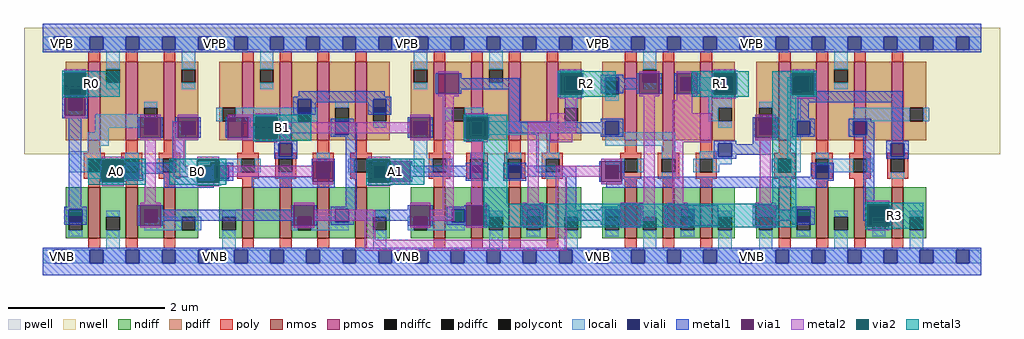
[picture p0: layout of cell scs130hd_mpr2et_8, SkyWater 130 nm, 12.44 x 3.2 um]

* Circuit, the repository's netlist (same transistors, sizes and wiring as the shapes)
* NGSPICE file created from scs130hd_mpr2et_8.ext - technology: sky130A

.subckt scs130hd_mpr2et_8 VPB VNB B0 A0 B1 R1 R2 R0 R3 A1 vpwr vgnd
X0 a_242_46# A0 vgnd VNB sky130_fd_pr__nfet_01v8 ad=0.10725 pd=0.98 as=0.10725 ps=0.98 w=0.65 l=0.15
X1 vgnd A1 a_730_46# VNB sky130_fd_pr__nfet_01v8 ad=0.1885 pd=1.88 as=0.10725 ps=0.98 w=0.65 l=0.15
X2 vgnd a_104_198# a_1176_198# VNB sky130_fd_pr__nfet_01v8 ad=0.10725 pd=0.98 as=0.1885 ps=1.88 w=0.65 l=0.15
X3 a_450_296# A1 a_634_46# VPB sky130_fd_pr__pfet_01v8 ad=0.29 pd=2.58 as=0.165 ps=1.33 w=1 l=0.15
X4 a_2098_296# a_104_198# vpwr VPB sky130_fd_pr__pfet_01v8 ad=0.165 pd=1.33 as=0.165 ps=1.33 w=1 l=0.15
X5 R3 a_938_46# a_2098_296# VPB sky130_fd_pr__pfet_01v8 ad=0.29 pd=2.58 as=0.165 ps=1.33 w=1 l=0.15
X6 vgnd a_104_198# R0 VNB sky130_fd_pr__nfet_01v8 ad=0.10725 pd=0.98 as=0.1885 ps=1.88 w=0.65 l=0.15
X7 vgnd a_938_46# R3 VNB sky130_fd_pr__nfet_01v8 ad=0.1885 pd=1.88 as=0.10725 ps=0.98 w=0.65 l=0.15
X8 R3 a_104_198# vgnd VNB sky130_fd_pr__nfet_01v8 ad=0.10725 pd=0.98 as=0.10725 ps=0.98 w=0.65 l=0.15
X9 a_634_46# B0 a_450_296# VPB sky130_fd_pr__pfet_01v8 ad=0.165 pd=1.33 as=0.165 ps=1.33 w=1 l=0.15
X10 vgnd a_1664_198# R1 VNB sky130_fd_pr__nfet_01v8 ad=0.1885 pd=1.88 as=0.10725 ps=0.98 w=0.65 l=0.15
X11 vpwr A0 a_450_296# VPB sky130_fd_pr__pfet_01v8 ad=0.165 pd=1.33 as=0.29 ps=2.58 w=1 l=0.15
X12 a_450_296# B1 vpwr VPB sky130_fd_pr__pfet_01v8 ad=0.165 pd=1.33 as=0.165 ps=1.33 w=1 l=0.15
X13 vgnd A1 a_1026_46# VNB sky130_fd_pr__nfet_01v8 ad=0.10725 pd=0.98 as=0.10725 ps=0.98 w=0.65 l=0.15
X14 vpwr a_104_198# a_1906_296# VPB sky130_fd_pr__pfet_01v8 ad=0.165 pd=1.33 as=0.165 ps=1.33 w=1 l=0.15
X15 a_1906_296# a_938_46# a_1664_198# VPB sky130_fd_pr__pfet_01v8 ad=0.165 pd=1.33 as=0.29 ps=2.58 w=1 l=0.15
X16 a_104_198# B0 a_242_46# VNB sky130_fd_pr__nfet_01v8 ad=0.1885 pd=1.88 as=0.10725 ps=0.98 w=0.65 l=0.15
X17 a_938_46# B1 vpwr VPB sky130_fd_pr__pfet_01v8 ad=0.165 pd=1.33 as=0.29 ps=2.58 w=1 l=0.15
X18 vpwr A1 a_938_46# VPB sky130_fd_pr__pfet_01v8 ad=0.165 pd=1.33 as=0.165 ps=1.33 w=1 l=0.15
X19 a_1026_46# B1 a_938_46# VNB sky130_fd_pr__nfet_01v8 ad=0.10725 pd=0.98 as=0.1885 ps=1.88 w=0.65 l=0.15
X20 a_1218_296# a_1176_198# vpwr VPB sky130_fd_pr__pfet_01v8 ad=0.165 pd=1.33 as=0.165 ps=1.33 w=1 l=0.15
X21 R2 a_938_46# a_1218_296# VPB sky130_fd_pr__pfet_01v8 ad=0.29 pd=2.58 as=0.165 ps=1.33 w=1 l=0.15
X22 vgnd a_938_46# R2 VNB sky130_fd_pr__nfet_01v8 ad=0.1885 pd=1.88 as=0.10725 ps=0.98 w=0.65 l=0.15
X23 a_730_46# B0 a_634_46# VNB sky130_fd_pr__nfet_01v8 ad=0.10725 pd=0.98 as=0.10725 ps=0.98 w=0.65 l=0.15
X24 R2 a_1176_198# vgnd VNB sky130_fd_pr__nfet_01v8 ad=0.10725 pd=0.98 as=0.10725 ps=0.98 w=0.65 l=0.15
X25 vgnd a_104_198# a_1664_198# VNB sky130_fd_pr__nfet_01v8 ad=0.10725 pd=0.98 as=0.10725 ps=0.98 w=0.65 l=0.15
X26 a_634_46# B1 a_538_46# VNB sky130_fd_pr__nfet_01v8 ad=0.10725 pd=0.98 as=0.10725 ps=0.98 w=0.65 l=0.15
X27 a_1664_198# a_938_46# vgnd VNB sky130_fd_pr__nfet_01v8 ad=0.10725 pd=0.98 as=0.1885 ps=1.88 w=0.65 l=0.15
X28 a_104_198# A0 vpwr VPB sky130_fd_pr__pfet_01v8 ad=0.165 pd=1.33 as=0.165 ps=1.33 w=1 l=0.15
X29 a_538_46# A0 vgnd VNB sky130_fd_pr__nfet_01v8 ad=0.10725 pd=0.98 as=0.1885 ps=1.88 w=0.65 l=0.15
X30 vpwr a_104_198# R0 VPB sky130_fd_pr__pfet_01v8 ad=0.165 pd=1.33 as=0.29 ps=2.58 w=1 l=0.15
X31 vpwr B0 a_104_198# VPB sky130_fd_pr__pfet_01v8 ad=0.29 pd=2.58 as=0.165 ps=1.33 w=1 l=0.15
X32 vpwr a_104_198# a_1176_198# VPB sky130_fd_pr__pfet_01v8 ad=0.165 pd=1.33 as=0.29 ps=2.58 w=1 l=0.15
X33 a_1610_296# a_634_46# vpwr VPB sky130_fd_pr__pfet_01v8 ad=0.165 pd=1.33 as=0.165 ps=1.33 w=1 l=0.15
X34 R1 a_634_46# vgnd VNB sky130_fd_pr__nfet_01v8 ad=0.10725 pd=0.98 as=0.10725 ps=0.98 w=0.65 l=0.15
X35 R1 a_1664_198# a_1610_296# VPB sky130_fd_pr__pfet_01v8 ad=0.29 pd=2.58 as=0.165 ps=1.33 w=1 l=0.15
.ends

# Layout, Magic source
magic
tech sky130A
magscale 1 2
<< nwell >>
rect -48 260 2440 582
<< pwell >>
rect 32 -12 66 16
rect 28 -16 66 -12
rect 28 -18 62 -16
rect 424 -18 458 16
rect 912 -18 946 16
rect 1400 -18 1434 16
rect 1792 -18 1826 16
<< nmos >>
rect 116 46 146 176
rect 212 46 242 176
rect 308 46 338 176
rect 508 46 538 176
rect 604 46 634 176
rect 700 46 730 176
rect 796 46 826 176
rect 996 46 1026 176
rect 1092 46 1122 176
rect 1188 46 1218 176
rect 1284 46 1314 176
rect 1484 46 1514 176
rect 1580 46 1610 176
rect 1676 46 1706 176
rect 1876 46 1906 176
rect 1972 46 2002 176
rect 2068 46 2098 176
rect 2164 46 2194 176
<< pmos >>
rect 116 296 146 496
rect 212 296 242 496
rect 308 296 338 496
rect 508 296 538 496
rect 604 296 634 496
rect 700 296 730 496
rect 796 296 826 496
rect 996 296 1026 496
rect 1092 296 1122 496
rect 1188 296 1218 496
rect 1284 296 1314 496
rect 1484 296 1514 496
rect 1580 296 1610 496
rect 1676 296 1706 496
rect 1876 296 1906 496
rect 1972 296 2002 496
rect 2068 296 2098 496
rect 2164 296 2194 496
<< ndiff >>
rect 58 100 116 176
rect 58 66 66 100
rect 100 66 116 100
rect 58 46 116 66
rect 146 100 212 176
rect 146 66 162 100
rect 196 66 212 100
rect 146 46 212 66
rect 242 46 308 176
rect 338 100 396 176
rect 338 66 354 100
rect 388 66 396 100
rect 338 46 396 66
rect 450 100 508 176
rect 450 66 458 100
rect 492 66 508 100
rect 450 46 508 66
rect 538 46 604 176
rect 634 100 700 176
rect 634 66 650 100
rect 684 66 700 100
rect 634 46 700 66
rect 730 46 796 176
rect 826 100 884 176
rect 826 66 842 100
rect 876 66 884 100
rect 826 46 884 66
rect 938 100 996 176
rect 938 66 946 100
rect 980 66 996 100
rect 938 46 996 66
rect 1026 46 1092 176
rect 1122 100 1188 176
rect 1122 66 1138 100
rect 1172 66 1188 100
rect 1122 46 1188 66
rect 1218 100 1284 176
rect 1218 66 1234 100
rect 1268 66 1284 100
rect 1218 46 1284 66
rect 1314 100 1372 176
rect 1314 66 1330 100
rect 1364 66 1372 100
rect 1314 46 1372 66
rect 1426 100 1484 176
rect 1426 66 1434 100
rect 1468 66 1484 100
rect 1426 46 1484 66
rect 1514 100 1580 176
rect 1514 66 1530 100
rect 1564 66 1580 100
rect 1514 46 1580 66
rect 1610 100 1676 176
rect 1610 66 1626 100
rect 1660 66 1676 100
rect 1610 46 1676 66
rect 1706 100 1764 176
rect 1706 66 1722 100
rect 1756 66 1764 100
rect 1706 46 1764 66
rect 1818 100 1876 176
rect 1818 66 1826 100
rect 1860 66 1876 100
rect 1818 46 1876 66
rect 1906 100 1972 176
rect 1906 66 1922 100
rect 1956 66 1972 100
rect 1906 46 1972 66
rect 2002 100 2068 176
rect 2002 66 2018 100
rect 2052 66 2068 100
rect 2002 46 2068 66
rect 2098 100 2164 176
rect 2098 66 2114 100
rect 2148 66 2164 100
rect 2098 46 2164 66
rect 2194 100 2252 176
rect 2194 66 2210 100
rect 2244 66 2252 100
rect 2194 46 2252 66
<< pdiff >>
rect 58 406 116 496
rect 58 372 66 406
rect 100 372 116 406
rect 58 296 116 372
rect 146 476 212 496
rect 146 442 162 476
rect 196 442 212 476
rect 146 296 212 442
rect 242 378 308 496
rect 242 344 258 378
rect 292 344 308 378
rect 242 296 308 344
rect 338 476 396 496
rect 338 442 354 476
rect 388 442 396 476
rect 338 296 396 442
rect 450 378 508 496
rect 450 344 458 378
rect 492 344 508 378
rect 450 296 508 344
rect 538 476 604 496
rect 538 442 554 476
rect 588 442 604 476
rect 538 296 604 442
rect 634 378 700 496
rect 634 344 650 378
rect 684 344 700 378
rect 634 296 700 344
rect 730 378 796 496
rect 730 344 746 378
rect 780 344 796 378
rect 730 296 796 344
rect 826 378 884 496
rect 826 344 842 378
rect 876 344 884 378
rect 826 296 884 344
rect 938 476 996 496
rect 938 442 946 476
rect 980 442 996 476
rect 938 296 996 442
rect 1026 378 1092 496
rect 1026 344 1042 378
rect 1076 344 1092 378
rect 1026 296 1092 344
rect 1122 476 1188 496
rect 1122 442 1138 476
rect 1172 442 1188 476
rect 1122 296 1188 442
rect 1218 296 1284 496
rect 1314 378 1372 496
rect 1314 344 1330 378
rect 1364 344 1372 378
rect 1314 296 1372 344
rect 1426 446 1484 496
rect 1426 412 1434 446
rect 1468 412 1484 446
rect 1426 296 1484 412
rect 1514 476 1580 496
rect 1514 442 1530 476
rect 1564 442 1580 476
rect 1514 296 1580 442
rect 1610 296 1676 496
rect 1706 378 1764 496
rect 1706 344 1722 378
rect 1756 344 1764 378
rect 1706 296 1764 344
rect 1818 378 1876 496
rect 1818 344 1826 378
rect 1860 344 1876 378
rect 1818 296 1876 344
rect 1906 296 1972 496
rect 2002 476 2068 496
rect 2002 442 2018 476
rect 2052 442 2068 476
rect 2002 296 2068 442
rect 2098 296 2164 496
rect 2194 378 2252 496
rect 2194 344 2210 378
rect 2244 344 2252 378
rect 2194 296 2252 344
<< ndiffc >>
rect 66 66 100 100
rect 162 66 196 100
rect 354 66 388 100
rect 458 66 492 100
rect 650 66 684 100
rect 842 66 876 100
rect 946 66 980 100
rect 1138 66 1172 100
rect 1234 66 1268 100
rect 1330 66 1364 100
rect 1434 66 1468 100
rect 1530 66 1564 100
rect 1626 66 1660 100
rect 1722 66 1756 100
rect 1826 66 1860 100
rect 1922 66 1956 100
rect 2018 66 2052 100
rect 2114 66 2148 100
rect 2210 66 2244 100
<< pdiffc >>
rect 66 372 100 406
rect 162 442 196 476
rect 258 344 292 378
rect 354 442 388 476
rect 458 344 492 378
rect 554 442 588 476
rect 650 344 684 378
rect 746 344 780 378
rect 842 344 876 378
rect 946 442 980 476
rect 1042 344 1076 378
rect 1138 442 1172 476
rect 1330 344 1364 378
rect 1434 412 1468 446
rect 1530 442 1564 476
rect 1722 344 1756 378
rect 1826 344 1860 378
rect 2018 442 2052 476
rect 2210 344 2244 378
<< poly >>
rect 116 496 146 522
rect 212 496 242 522
rect 308 496 338 522
rect 508 496 538 522
rect 604 496 634 522
rect 700 496 730 522
rect 796 496 826 522
rect 996 496 1026 522
rect 1092 496 1122 522
rect 1188 496 1218 522
rect 1284 496 1314 522
rect 1484 496 1514 522
rect 1580 496 1610 522
rect 1676 496 1706 522
rect 1876 496 1906 522
rect 1972 496 2002 522
rect 2068 496 2098 522
rect 2164 496 2194 522
rect 116 264 146 296
rect 212 264 242 296
rect 308 264 338 296
rect 508 264 538 296
rect 604 264 634 296
rect 700 264 730 296
rect 796 264 826 296
rect 996 264 1026 296
rect 1092 264 1122 296
rect 1188 264 1218 296
rect 1284 264 1314 296
rect 1484 264 1514 296
rect 1580 264 1610 296
rect 1676 264 1706 296
rect 1876 264 1906 296
rect 1972 264 2002 296
rect 2068 264 2098 296
rect 2164 264 2194 296
rect 104 248 158 264
rect 104 214 114 248
rect 148 214 158 248
rect 104 198 158 214
rect 200 248 254 264
rect 200 214 210 248
rect 244 214 254 248
rect 200 198 254 214
rect 296 248 350 264
rect 296 214 306 248
rect 340 214 350 248
rect 296 198 350 214
rect 496 248 550 264
rect 496 214 506 248
rect 540 214 550 248
rect 496 198 550 214
rect 592 248 646 264
rect 592 214 602 248
rect 636 214 646 248
rect 592 198 646 214
rect 688 248 742 264
rect 688 214 698 248
rect 732 214 742 248
rect 688 198 742 214
rect 784 248 838 264
rect 784 214 794 248
rect 828 214 838 248
rect 784 198 838 214
rect 984 248 1038 264
rect 984 214 994 248
rect 1028 214 1038 248
rect 984 198 1038 214
rect 1080 248 1134 264
rect 1080 214 1090 248
rect 1124 214 1134 248
rect 1080 198 1134 214
rect 1176 248 1230 264
rect 1176 214 1186 248
rect 1220 214 1230 248
rect 1176 198 1230 214
rect 1272 248 1326 264
rect 1272 214 1282 248
rect 1316 214 1326 248
rect 1272 198 1326 214
rect 1472 248 1526 264
rect 1472 214 1482 248
rect 1516 214 1526 248
rect 1472 198 1526 214
rect 1568 248 1622 264
rect 1568 214 1578 248
rect 1612 214 1622 248
rect 1568 198 1622 214
rect 1664 248 1718 264
rect 1664 214 1674 248
rect 1708 214 1718 248
rect 1664 198 1718 214
rect 1864 248 1918 264
rect 1864 214 1874 248
rect 1908 214 1918 248
rect 1864 198 1918 214
rect 1960 248 2014 264
rect 1960 214 1970 248
rect 2004 214 2014 248
rect 1960 198 2014 214
rect 2056 248 2110 264
rect 2056 214 2066 248
rect 2100 214 2110 248
rect 2056 198 2110 214
rect 2152 248 2206 264
rect 2152 214 2162 248
rect 2196 214 2206 248
rect 2152 198 2206 214
rect 116 176 146 198
rect 212 176 242 198
rect 308 176 338 198
rect 508 176 538 198
rect 604 176 634 198
rect 700 176 730 198
rect 796 176 826 198
rect 996 176 1026 198
rect 1092 176 1122 198
rect 1188 176 1218 198
rect 1284 176 1314 198
rect 1484 176 1514 198
rect 1580 176 1610 198
rect 1676 176 1706 198
rect 1876 176 1906 198
rect 1972 176 2002 198
rect 2068 176 2098 198
rect 2164 176 2194 198
rect 116 20 146 46
rect 212 20 242 46
rect 308 20 338 46
rect 508 20 538 46
rect 604 20 634 46
rect 700 20 730 46
rect 796 20 826 46
rect 996 20 1026 46
rect 1092 20 1122 46
rect 1188 20 1218 46
rect 1284 20 1314 46
rect 1484 20 1514 46
rect 1580 20 1610 46
rect 1676 20 1706 46
rect 1876 20 1906 46
rect 1972 20 2002 46
rect 2068 20 2098 46
rect 2164 20 2194 46
<< polycont >>
rect 114 214 148 248
rect 210 214 244 248
rect 306 214 340 248
rect 506 214 540 248
rect 602 214 636 248
rect 698 214 732 248
rect 794 214 828 248
rect 994 214 1028 248
rect 1090 214 1124 248
rect 1186 214 1220 248
rect 1282 214 1316 248
rect 1482 214 1516 248
rect 1578 214 1612 248
rect 1674 214 1708 248
rect 1874 214 1908 248
rect 1970 214 2004 248
rect 2066 214 2100 248
rect 2162 214 2196 248
<< locali >>
rect 0 526 28 560
rect 62 526 120 560
rect 154 526 212 560
rect 246 526 304 560
rect 338 526 396 560
rect 430 526 488 560
rect 522 526 580 560
rect 614 526 672 560
rect 706 526 764 560
rect 798 526 856 560
rect 890 526 948 560
rect 982 526 1040 560
rect 1074 526 1132 560
rect 1166 526 1224 560
rect 1258 526 1316 560
rect 1350 526 1408 560
rect 1442 526 1500 560
rect 1534 526 1592 560
rect 1626 526 1684 560
rect 1718 526 1776 560
rect 1810 526 1868 560
rect 1902 526 1960 560
rect 1994 526 2052 560
rect 2086 526 2144 560
rect 2178 526 2236 560
rect 2270 526 2328 560
rect 2362 526 2392 560
rect 162 476 196 526
rect 162 426 196 442
rect 354 476 388 526
rect 354 426 388 442
rect 554 476 588 526
rect 554 426 588 442
rect 946 476 980 526
rect 946 426 980 442
rect 1138 476 1172 526
rect 1530 476 1564 526
rect 1434 456 1468 462
rect 1138 426 1172 442
rect 66 356 100 372
rect 258 378 292 394
rect 746 378 780 394
rect 134 328 258 362
rect 442 344 458 378
rect 492 344 650 378
rect 684 344 700 378
rect 134 316 168 328
rect 114 282 168 316
rect 330 310 354 344
rect 1330 378 1364 422
rect 2018 476 2052 526
rect 1530 426 1564 442
rect 1660 422 1722 456
rect 1434 396 1468 412
rect 1026 344 1042 378
rect 1076 344 1124 378
rect 1698 378 1756 422
rect 1898 422 1922 456
rect 2018 426 2052 442
rect 1698 344 1722 378
rect 842 328 876 344
rect 1124 310 1292 344
rect 1330 328 1364 344
rect 114 268 148 282
rect 66 248 148 268
rect 66 214 114 248
rect 114 198 148 214
rect 210 248 244 264
rect 330 248 364 310
rect 602 248 636 254
rect 290 214 306 248
rect 340 214 364 248
rect 440 232 506 248
rect 474 214 506 232
rect 540 214 556 248
rect 602 198 636 214
rect 698 248 732 264
rect 946 248 980 310
rect 1258 264 1292 310
rect 1722 328 1756 344
rect 1826 378 1860 394
rect 1468 310 1612 316
rect 1898 344 1932 422
rect 2066 344 2210 378
rect 2244 344 2260 378
rect 1898 310 1922 344
rect 1434 282 1612 310
rect 1090 248 1124 264
rect 778 214 794 248
rect 828 232 876 248
rect 828 214 842 232
rect 946 214 994 248
rect 1028 214 1044 248
rect 1186 248 1220 264
rect 1258 248 1316 264
rect 1578 248 1612 282
rect 1674 254 1722 268
rect 1674 248 1756 254
rect 1898 248 1932 310
rect 1258 214 1282 248
rect 1282 198 1316 214
rect 1434 232 1482 248
rect 1468 214 1482 232
rect 1516 214 1532 248
rect 1658 214 1674 248
rect 1708 234 1756 248
rect 1708 214 1724 234
rect 1858 214 1874 248
rect 1908 214 1932 248
rect 1970 248 2004 264
rect 2162 248 2196 254
rect 2004 214 2066 248
rect 2100 214 2116 248
rect 1578 198 1612 214
rect 2162 198 2196 214
rect 66 50 100 66
rect 162 100 196 116
rect 458 100 492 116
rect 292 86 354 100
rect 258 66 354 86
rect 388 66 404 100
rect 634 66 650 100
rect 684 86 746 100
rect 684 66 780 86
rect 842 100 876 116
rect 930 66 946 100
rect 980 86 1042 100
rect 980 66 1076 86
rect 1138 100 1172 116
rect 162 16 196 66
rect 458 16 492 66
rect 842 16 876 66
rect 1138 16 1172 66
rect 1234 50 1268 66
rect 1330 100 1364 116
rect 1330 16 1364 66
rect 1434 50 1468 66
rect 1530 100 1564 116
rect 1530 16 1564 66
rect 1626 50 1660 66
rect 1722 100 1756 116
rect 1722 16 1756 66
rect 1826 100 1860 116
rect 1826 16 1860 66
rect 1922 50 1956 66
rect 2018 100 2052 116
rect 2018 16 2052 66
rect 2114 50 2148 66
rect 2210 100 2244 116
rect 2210 16 2244 66
rect 0 -18 28 16
rect 62 -18 120 16
rect 154 -18 212 16
rect 246 -18 304 16
rect 338 -18 396 16
rect 430 -18 488 16
rect 522 -18 580 16
rect 614 -18 672 16
rect 706 -18 764 16
rect 798 -18 856 16
rect 890 -18 948 16
rect 982 -18 1040 16
rect 1074 -18 1132 16
rect 1166 -18 1224 16
rect 1258 -18 1316 16
rect 1350 -18 1408 16
rect 1442 -18 1500 16
rect 1534 -18 1592 16
rect 1626 -18 1684 16
rect 1718 -18 1776 16
rect 1810 -18 1868 16
rect 1902 -18 1960 16
rect 1994 -18 2052 16
rect 2086 -18 2144 16
rect 2178 -18 2236 16
rect 2270 -18 2328 16
rect 2362 -18 2392 16
<< viali >>
rect 28 526 62 560
rect 120 526 154 560
rect 212 526 246 560
rect 304 526 338 560
rect 396 526 430 560
rect 488 526 522 560
rect 580 526 614 560
rect 672 526 706 560
rect 764 526 798 560
rect 856 526 890 560
rect 948 526 982 560
rect 1040 526 1074 560
rect 1132 526 1166 560
rect 1224 526 1258 560
rect 1316 526 1350 560
rect 1408 526 1442 560
rect 1500 526 1534 560
rect 1592 526 1626 560
rect 1684 526 1718 560
rect 1776 526 1810 560
rect 1868 526 1902 560
rect 1960 526 1994 560
rect 2052 526 2086 560
rect 2144 526 2178 560
rect 2236 526 2270 560
rect 2328 526 2362 560
rect 66 406 100 428
rect 66 394 100 406
rect 1330 422 1364 456
rect 650 378 684 400
rect 650 366 684 378
rect 258 310 292 344
rect 354 310 388 344
rect 746 310 780 344
rect 842 378 876 400
rect 1434 446 1468 456
rect 1434 422 1468 446
rect 1626 422 1660 456
rect 1722 422 1756 456
rect 842 366 876 378
rect 1922 422 1956 456
rect 946 310 980 344
rect 1090 310 1124 344
rect 602 254 636 288
rect 210 214 244 232
rect 210 198 244 214
rect 440 198 474 232
rect 1434 310 1468 344
rect 1826 310 1860 344
rect 1922 310 1956 344
rect 2066 310 2100 344
rect 698 214 732 232
rect 698 198 732 214
rect 842 198 876 232
rect 1090 214 1124 232
rect 1090 198 1124 214
rect 1186 214 1220 232
rect 1722 254 1756 288
rect 1186 198 1220 214
rect 1434 198 1468 232
rect 2162 254 2196 288
rect 1970 214 2004 232
rect 1970 198 2004 214
rect 66 100 100 120
rect 66 86 100 100
rect 258 86 292 120
rect 746 86 780 120
rect 1042 86 1076 120
rect 1234 100 1268 120
rect 1234 86 1268 100
rect 1434 100 1468 120
rect 1434 86 1468 100
rect 1626 100 1660 120
rect 1626 86 1660 100
rect 1922 100 1956 120
rect 1922 86 1956 100
rect 2114 100 2148 120
rect 2114 86 2148 100
rect 28 -18 62 16
rect 120 -18 154 16
rect 212 -18 246 16
rect 304 -18 338 16
rect 396 -18 430 16
rect 488 -18 522 16
rect 580 -18 614 16
rect 672 -18 706 16
rect 764 -18 798 16
rect 856 -18 890 16
rect 948 -18 982 16
rect 1040 -18 1074 16
rect 1132 -18 1166 16
rect 1224 -18 1258 16
rect 1316 -18 1350 16
rect 1408 -18 1442 16
rect 1500 -18 1534 16
rect 1592 -18 1626 16
rect 1684 -18 1718 16
rect 1776 -18 1810 16
rect 1868 -18 1902 16
rect 1960 -18 1994 16
rect 2052 -18 2086 16
rect 2144 -18 2178 16
rect 2236 -18 2270 16
rect 2328 -18 2362 16
<< metal1 >>
rect 0 560 2392 592
rect 0 526 28 560
rect 62 526 120 560
rect 154 526 212 560
rect 246 526 304 560
rect 338 526 396 560
rect 430 526 488 560
rect 522 526 580 560
rect 614 526 672 560
rect 706 526 764 560
rect 798 526 856 560
rect 890 526 948 560
rect 982 526 1040 560
rect 1074 526 1132 560
rect 1166 526 1224 560
rect 1258 526 1316 560
rect 1350 526 1408 560
rect 1442 526 1500 560
rect 1534 526 1592 560
rect 1626 526 1684 560
rect 1718 526 1776 560
rect 1810 526 1868 560
rect 1902 526 1960 560
rect 1994 526 2052 560
rect 2086 526 2144 560
rect 2178 526 2236 560
rect 2270 526 2328 560
rect 2362 526 2392 560
rect 0 520 2392 526
rect 50 428 114 434
rect 50 410 66 428
rect 100 410 114 428
rect 50 358 56 410
rect 108 358 114 410
rect 652 406 872 420
rect 1002 414 1008 466
rect 1060 454 1066 466
rect 1060 426 1216 454
rect 1060 414 1066 426
rect 638 400 888 406
rect 638 366 650 400
rect 684 392 842 400
rect 684 366 696 392
rect 638 360 696 366
rect 830 366 842 392
rect 876 366 888 400
rect 830 360 888 366
rect 50 352 114 358
rect 66 126 98 352
rect 242 302 248 354
rect 300 302 306 354
rect 338 302 344 354
rect 396 302 402 354
rect 466 302 472 354
rect 524 330 530 354
rect 734 344 792 350
rect 524 302 632 330
rect 734 310 746 344
rect 780 342 792 344
rect 780 310 800 342
rect 734 304 800 310
rect 590 294 632 302
rect 590 288 648 294
rect 590 254 602 288
rect 636 254 648 288
rect 590 248 648 254
rect 686 242 744 248
rect 146 190 152 242
rect 204 238 210 242
rect 204 232 336 238
rect 204 198 210 232
rect 244 210 336 232
rect 428 232 486 238
rect 428 230 440 232
rect 244 198 256 210
rect 204 192 256 198
rect 308 202 336 210
rect 408 202 440 230
rect 308 198 440 202
rect 474 198 486 232
rect 686 202 688 242
rect 308 192 486 198
rect 204 190 210 192
rect 308 174 436 192
rect 532 190 688 202
rect 740 190 744 242
rect 532 174 744 190
rect 54 120 112 126
rect 54 86 66 120
rect 100 86 112 120
rect 54 80 112 86
rect 242 78 248 130
rect 300 118 306 130
rect 634 118 640 130
rect 300 90 640 118
rect 300 78 306 90
rect 634 78 640 90
rect 692 78 698 130
rect 772 126 800 304
rect 930 302 936 354
rect 988 302 994 354
rect 1074 302 1080 354
rect 1132 302 1138 354
rect 1188 342 1216 426
rect 1314 414 1320 466
rect 1372 414 1378 466
rect 1422 456 1480 462
rect 1422 422 1434 456
rect 1468 454 1480 456
rect 1514 454 1520 466
rect 1468 426 1520 454
rect 1468 422 1480 426
rect 1422 416 1480 422
rect 1514 414 1520 426
rect 1572 414 1578 466
rect 1610 414 1616 466
rect 1668 414 1674 466
rect 1706 414 1712 466
rect 1764 414 1770 466
rect 1906 414 1912 466
rect 1964 420 1970 466
rect 1964 414 2192 420
rect 1924 392 2192 414
rect 1422 344 1480 350
rect 1422 342 1434 344
rect 1188 314 1434 342
rect 1422 310 1434 314
rect 1468 310 1480 344
rect 1422 304 1480 310
rect 1810 302 1816 354
rect 1868 302 1874 354
rect 1924 350 1952 392
rect 1910 344 1968 350
rect 1910 310 1922 344
rect 1956 310 1968 344
rect 1910 304 1968 310
rect 2054 344 2112 350
rect 2054 310 2066 344
rect 2100 342 2112 344
rect 2100 310 2120 342
rect 2054 304 2120 310
rect 1710 288 1768 294
rect 1710 254 1722 288
rect 1756 286 1768 288
rect 1810 286 1856 302
rect 1756 258 1856 286
rect 1756 254 1768 258
rect 1710 248 1768 254
rect 878 238 884 242
rect 830 232 884 238
rect 830 198 842 232
rect 876 198 884 232
rect 830 192 884 198
rect 878 190 884 192
rect 936 230 942 242
rect 1078 232 1136 238
rect 1078 230 1090 232
rect 936 202 1090 230
rect 936 190 942 202
rect 1078 198 1090 202
rect 1124 198 1136 232
rect 1078 192 1136 198
rect 1174 232 1232 238
rect 1174 198 1186 232
rect 1220 230 1232 232
rect 1220 202 1360 230
rect 1220 198 1232 202
rect 1174 192 1232 198
rect 734 120 800 126
rect 734 86 746 120
rect 780 118 800 120
rect 930 118 936 130
rect 780 90 936 118
rect 780 86 792 90
rect 734 80 792 86
rect 930 78 936 90
rect 988 78 994 130
rect 1074 126 1080 130
rect 1030 120 1080 126
rect 1030 86 1042 120
rect 1076 86 1080 120
rect 1030 80 1080 86
rect 1074 78 1080 80
rect 1132 78 1138 130
rect 1218 78 1224 130
rect 1276 78 1282 130
rect 1332 118 1360 202
rect 1418 190 1424 242
rect 1476 202 1482 242
rect 1958 232 2016 238
rect 1958 202 1970 232
rect 1476 198 1970 202
rect 2004 198 2016 232
rect 1476 192 2016 198
rect 1476 190 2000 192
rect 1436 174 2000 190
rect 2092 130 2120 304
rect 2164 294 2192 392
rect 2150 288 2208 294
rect 2150 254 2162 288
rect 2196 254 2208 288
rect 2150 248 2208 254
rect 1466 126 1472 130
rect 1422 120 1472 126
rect 1422 118 1434 120
rect 1332 90 1434 118
rect 1422 86 1434 90
rect 1468 86 1472 120
rect 1422 80 1472 86
rect 1466 78 1472 80
rect 1524 78 1530 130
rect 1586 78 1592 130
rect 1644 120 1722 130
rect 1660 86 1722 120
rect 1644 78 1722 86
rect 1810 78 1816 130
rect 1868 118 1874 130
rect 1910 120 1968 126
rect 1910 118 1922 120
rect 1868 90 1922 118
rect 1868 78 1874 90
rect 1910 86 1922 90
rect 1956 86 1968 120
rect 2092 90 2104 130
rect 1910 80 1968 86
rect 2098 78 2104 90
rect 2156 78 2162 130
rect 0 16 2392 22
rect 0 -18 28 16
rect 62 -18 120 16
rect 154 -18 212 16
rect 246 -18 304 16
rect 338 -18 396 16
rect 430 -18 488 16
rect 522 -18 580 16
rect 614 -18 672 16
rect 706 -18 764 16
rect 798 -18 856 16
rect 890 -18 948 16
rect 982 -18 1040 16
rect 1074 -18 1132 16
rect 1166 -18 1224 16
rect 1258 -18 1316 16
rect 1350 -18 1408 16
rect 1442 -18 1500 16
rect 1534 -18 1592 16
rect 1626 -18 1684 16
rect 1718 -18 1776 16
rect 1810 -18 1868 16
rect 1902 -18 1960 16
rect 1994 -18 2052 16
rect 2086 -18 2144 16
rect 2178 -18 2236 16
rect 2270 -18 2328 16
rect 2362 -18 2392 16
rect 0 -48 2392 -18
<< via1 >>
rect 56 394 66 410
rect 66 394 100 410
rect 100 394 108 410
rect 56 358 108 394
rect 1008 414 1060 466
rect 248 344 300 354
rect 248 310 258 344
rect 258 310 292 344
rect 292 310 300 344
rect 248 302 300 310
rect 344 344 396 354
rect 344 310 354 344
rect 354 310 388 344
rect 388 310 396 344
rect 344 302 396 310
rect 472 302 524 354
rect 152 190 204 242
rect 688 232 740 242
rect 688 198 698 232
rect 698 198 732 232
rect 732 198 740 232
rect 688 190 740 198
rect 248 120 300 130
rect 248 86 258 120
rect 258 86 292 120
rect 292 86 300 120
rect 248 78 300 86
rect 640 78 692 130
rect 936 344 988 354
rect 936 310 946 344
rect 946 310 980 344
rect 980 310 988 344
rect 936 302 988 310
rect 1080 344 1132 354
rect 1080 310 1090 344
rect 1090 310 1124 344
rect 1124 310 1132 344
rect 1080 302 1132 310
rect 1320 456 1372 466
rect 1320 422 1330 456
rect 1330 422 1364 456
rect 1364 422 1372 456
rect 1320 414 1372 422
rect 1520 414 1572 466
rect 1616 456 1668 466
rect 1616 422 1626 456
rect 1626 422 1660 456
rect 1660 422 1668 456
rect 1616 414 1668 422
rect 1712 456 1764 466
rect 1712 422 1722 456
rect 1722 422 1756 456
rect 1756 422 1764 456
rect 1712 414 1764 422
rect 1912 456 1964 466
rect 1912 422 1922 456
rect 1922 422 1956 456
rect 1956 422 1964 456
rect 1912 414 1964 422
rect 1816 344 1868 354
rect 1816 310 1826 344
rect 1826 310 1860 344
rect 1860 310 1868 344
rect 1816 302 1868 310
rect 884 190 936 242
rect 936 78 988 130
rect 1080 78 1132 130
rect 1224 120 1276 130
rect 1224 86 1234 120
rect 1234 86 1268 120
rect 1268 86 1276 120
rect 1224 78 1276 86
rect 1424 232 1476 242
rect 1424 198 1434 232
rect 1434 198 1468 232
rect 1468 198 1476 232
rect 1424 190 1476 198
rect 1472 78 1524 130
rect 1592 120 1644 130
rect 1592 86 1626 120
rect 1626 86 1644 120
rect 1592 78 1644 86
rect 1816 78 1868 130
rect 2104 120 2156 130
rect 2104 86 2114 120
rect 2114 86 2148 120
rect 2148 86 2156 120
rect 2104 78 2156 86
<< metal2 >>
rect 54 468 110 477
rect 54 410 110 412
rect 54 402 56 410
rect 108 402 110 410
rect 1008 466 1060 472
rect 1008 408 1060 414
rect 1318 468 1374 477
rect 542 360 598 365
rect 56 352 108 358
rect 248 354 300 360
rect 344 354 396 360
rect 248 296 300 302
rect 332 302 344 342
rect 332 296 396 302
rect 472 356 598 360
rect 472 354 542 356
rect 524 302 542 354
rect 472 300 542 302
rect 936 354 988 360
rect 598 314 936 342
rect 472 296 598 300
rect 936 296 988 302
rect 150 244 206 253
rect 150 178 206 188
rect 260 136 288 296
rect 332 230 360 296
rect 542 290 598 296
rect 394 244 450 253
rect 830 248 886 253
rect 332 202 394 230
rect 688 242 740 248
rect 450 202 688 230
rect 394 178 450 188
rect 688 184 740 190
rect 830 244 936 248
rect 886 242 936 244
rect 886 188 936 190
rect 830 184 936 188
rect 830 178 886 184
rect 248 130 300 136
rect 248 72 300 78
rect 640 130 692 136
rect 936 130 988 136
rect 692 90 848 118
rect 640 72 692 78
rect 820 42 848 90
rect 1020 118 1048 408
rect 1318 402 1374 412
rect 1520 466 1572 472
rect 1520 408 1572 414
rect 1616 466 1668 472
rect 1616 408 1668 414
rect 1710 468 1766 477
rect 1078 356 1134 365
rect 1332 364 1360 402
rect 1294 342 1360 364
rect 1078 290 1134 300
rect 1236 314 1360 342
rect 1092 136 1120 290
rect 1236 136 1264 314
rect 1294 290 1350 314
rect 1424 242 1476 248
rect 1308 202 1424 230
rect 988 90 1048 118
rect 1080 130 1132 136
rect 936 72 988 78
rect 1080 72 1132 78
rect 1224 130 1276 136
rect 1224 72 1276 78
rect 1308 42 1336 202
rect 1424 184 1476 190
rect 1532 136 1560 408
rect 1616 398 1656 408
rect 1710 402 1766 412
rect 1910 468 1966 477
rect 1910 402 1966 412
rect 1604 364 1656 398
rect 1604 290 1704 364
rect 1816 354 1868 360
rect 1816 296 1868 302
rect 1604 136 1632 290
rect 1828 136 1856 296
rect 1472 130 1560 136
rect 1524 90 1560 130
rect 1592 130 1644 136
rect 1472 72 1524 78
rect 1592 72 1644 78
rect 1816 130 1868 136
rect 1816 72 1868 78
rect 2102 132 2158 141
rect 2102 66 2158 76
rect 820 14 1336 42
<< via2 >>
rect 54 412 110 468
rect 1318 466 1374 468
rect 1318 414 1320 466
rect 1320 414 1372 466
rect 1372 414 1374 466
rect 1318 412 1374 414
rect 542 300 598 356
rect 150 242 206 244
rect 150 190 152 242
rect 152 190 204 242
rect 204 190 206 242
rect 150 188 206 190
rect 394 188 450 244
rect 830 242 886 244
rect 830 190 884 242
rect 884 190 886 242
rect 830 188 886 190
rect 1710 466 1766 468
rect 1710 414 1712 466
rect 1712 414 1764 466
rect 1764 414 1766 466
rect 1710 412 1766 414
rect 1078 354 1134 356
rect 1078 302 1080 354
rect 1080 302 1132 354
rect 1132 302 1134 354
rect 1078 300 1134 302
rect 1910 466 1966 468
rect 1910 414 1912 466
rect 1912 414 1964 466
rect 1964 414 1966 466
rect 1910 412 1966 414
rect 2102 130 2158 132
rect 2102 78 2104 130
rect 2104 78 2156 130
rect 2156 78 2158 130
rect 2102 76 2158 78
<< metal3 >>
rect 49 472 114 473
rect 1313 472 1379 473
rect 1706 472 1771 473
rect 1907 472 1971 473
rect 49 468 196 472
rect 49 412 54 468
rect 110 412 196 468
rect 49 406 196 412
rect 1313 468 1460 472
rect 1313 412 1318 468
rect 1374 412 1460 468
rect 1313 406 1460 412
rect 1654 468 1800 472
rect 1654 412 1710 468
rect 1766 412 1800 468
rect 1654 406 1800 412
rect 1860 468 1972 472
rect 1860 412 1910 468
rect 1966 412 1972 468
rect 1860 406 1972 412
rect 49 405 114 406
rect 1313 405 1379 406
rect 1706 405 1771 406
rect 537 360 603 361
rect 1073 360 1137 361
rect 537 356 684 360
rect 537 300 542 356
rect 598 300 684 356
rect 537 294 684 300
rect 1073 356 1184 360
rect 1073 300 1078 356
rect 1134 300 1184 356
rect 537 293 603 294
rect 1073 293 1184 300
rect 116 248 220 249
rect 390 248 455 249
rect 825 248 890 249
rect 116 244 262 248
rect 116 188 150 244
rect 206 188 262 244
rect 116 182 262 188
rect 322 244 468 248
rect 322 188 394 244
rect 450 188 468 244
rect 322 182 468 188
rect 825 244 972 248
rect 825 188 830 244
rect 886 188 972 244
rect 825 182 972 188
rect 390 181 455 182
rect 825 181 890 182
rect 1124 134 1184 293
rect 1860 134 1920 406
rect 1124 74 1920 134
rect 2097 136 2162 137
rect 2097 132 2244 136
rect 2097 76 2102 132
rect 2158 76 2244 132
rect 2097 70 2244 76
rect 2097 69 2162 70
<< labels >>
flabel nwell s 1792 526 1826 560 0 FreeSans 100 0 0 0 VPB
port 1 nsew
flabel nwell s 1400 526 1434 560 0 FreeSans 100 0 0 0 VPB
port 1 nsew
flabel nwell s 912 526 946 560 0 FreeSans 100 0 0 0 VPB
port 1 nsew
flabel nwell s 424 526 458 560 0 FreeSans 100 0 0 0 VPB
port 1 nsew
flabel nwell s 32 526 66 560 0 FreeSans 100 0 0 0 VPB
port 1 nsew
flabel pwell s 1792 -16 1826 16 0 FreeSans 100 0 0 0 VNB
port 2 nsew
flabel pwell s 1400 -16 1434 16 0 FreeSans 100 0 0 0 VNB
port 2 nsew
flabel pwell s 912 -16 946 16 0 FreeSans 100 0 0 0 VNB
port 2 nsew
flabel pwell s 424 -16 458 16 0 FreeSans 100 0 0 0 VNB
port 2 nsew
flabel pwell s 32 -16 66 16 0 FreeSans 100 0 0 0 VNB
port 2 nsew
flabel comment s 0 0 0 0 0 FreeSans 100 0 0 0 mul2
rlabel metal3 s 322 182 468 248 4 B0
port 3 nsew
rlabel metal3 s 116 182 262 248 4 A0
port 4 nsew
rlabel metal3 s 538 294 684 360 4 B1
port 5 nsew
rlabel metal3 s 1654 406 1800 472 4 R1
port 6 nsew
rlabel metal3 s 1314 406 1460 472 4 R2
port 7 nsew
rlabel metal3 s 50 406 196 472 4 R0
port 8 nsew
rlabel metal3 s 2098 70 2244 136 4 R3
port 9 nsew
rlabel metal3 s 826 182 972 248 4 A1
port 10 nsew
flabel metal1 s 30 526 64 560 0 FreeSans 100 0 0 0 vpwr
port 11 nsew
flabel metal1 s 30 -16 64 16 0 FreeSans 100 0 0 0 vgnd
port 12 nsew
<< properties >>
string FIXED_BBOX 0 0 2392 544
<< end >>
